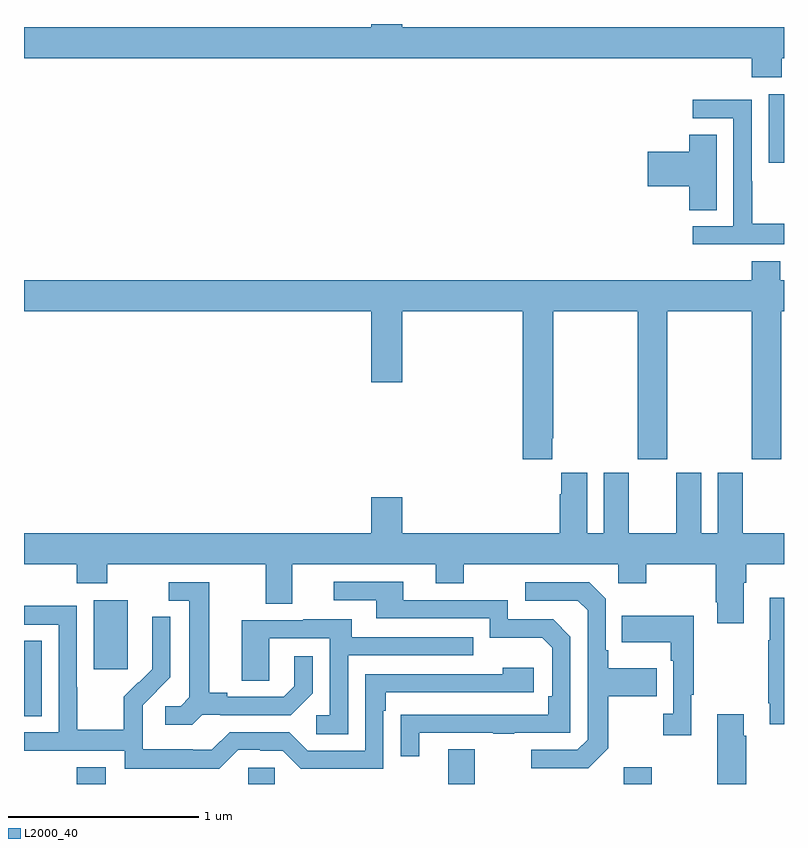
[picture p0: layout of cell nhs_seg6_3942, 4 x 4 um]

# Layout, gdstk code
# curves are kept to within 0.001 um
import gdstk
lib = gdstk.Library(unit=1e-6, precision=1e-09)
def R(c, l, rs):  # rectangles x0, y0, x1, y1
    for r in rs: c.add(gdstk.rectangle(r[:2], r[2:], *l))
def P(c, l, *ps):  # polygons
    for p in ps: c.add(gdstk.Polygon(p, *l))
L2000_40 = (2000, 40)

nhs_seg6_3942 = lib.new_cell('nhs_seg6_3942')
R(nhs_seg6_3942, L2000_40, [(343.277,959.5,343.429,959.587), (344.181,959.5,344.319,959.586), (345.233,959.5,345.373,959.683), (346.157,959.5,346.305,959.587), (343,959.857,343.093,960.254), (343.367,960.105,343.546,960.466), (346.919,962.769,347,963.13)])
P(nhs_seg6_3942, L2000_40, [(346.989,963.32),(347,963.32),(347,963.484),(344.992,963.484),(344.992,963.5),(344.828,963.5),(344.828,963.484),(343,963.484),(343,963.32),(346.829,963.32),(346.829,963.221),(346.989,963.221)],
  [(347,962.449),(346.833,962.449),(346.833,962.672),(346.83,962.672),(346.83,963.102),(346.521,963.102),(346.521,963.003),(346.734,963.003),(346.734,962.436),(346.521,962.436),(346.521,962.34),(347,962.34)],
  [(346.645,962.918),(346.502,962.918),(346.502,962.828),(346.284,962.828),(346.284,962.645),(346.502,962.645),(346.502,962.521),(346.645,962.521)],
  [(345.781,961.321),(345.786,961.321),(345.786,961.988),(346.231,961.988),(346.231,961.209),(346.386,961.209),(346.386,961.988),(346.831,961.988),(346.831,961.209),(346.986,961.209),(346.986,961.988),(347,961.988),(347,962.152),(346.981,962.152),(346.981,962.251),(346.829,962.251),(346.829,962.152),(343,962.152),(343,961.988),(344.828,961.988),(344.828,961.614),(344.992,961.614),(344.992,961.988),(345.626,961.988),(345.626,961.209),(345.781,961.209)],
  [(346.128,960.557),(346.275,960.557),(346.275,960.656),(346.642,960.656),(346.642,960.457),(346.649,960.457),(346.649,960.345),(346.789,960.345),(346.789,960.56),(346.802,960.56),(346.802,960.656),(347,960.656),(347,960.82),(346.783,960.82),(346.783,961.138),(346.652,961.138),(346.652,960.82),(346.564,960.82),(346.564,961.138),(346.433,961.138),(346.433,960.82),(346.183,960.82),(346.183,961.138),(346.052,961.138),(346.052,960.82),(345.964,960.82),(345.964,961.138),(345.827,961.138),(345.827,961.025),(345.821,961.025),(345.821,960.82),(344.992,960.82),(344.992,961.009),(344.828,961.009),(344.828,960.82),(343,960.82),(343,960.656),(343.277,960.656),(343.277,960.557),(343.437,960.557),(343.437,960.656),(344.273,960.656),(344.273,960.448),(344.413,960.448),(344.413,960.656),(345.167,960.656),(345.167,960.557),(345.315,960.557),(345.315,960.656),(346.128,960.656)],
  [(345.079,959.769),(345.469,959.769),(345.469,959.764),(345.581,959.764),(345.581,959.769),(345.876,959.769),(345.876,960.276),(345.786,960.366),(345.546,960.366),(345.546,960.468),(344.995,960.468),(344.995,960.564),(344.631,960.564),(344.631,960.468),(344.855,960.468),(344.855,960.372),(345.45,960.372),(345.45,960.269),(345.727,960.269),(345.78,960.216),(345.78,959.962),(345.76,959.962),(345.76,959.865),(344.983,959.864),(344.983,959.646),(345.079,959.646)],
  [(346.075,959.689),(346.075,959.962),(346.331,959.962),(346.331,960.109),(346.075,960.109),(346.075,960.205),(346.062,960.205),(346.062,960.474),(345.975,960.561),(345.639,960.561),(345.639,960.465),(345.915,960.465),(345.966,960.414),(345.966,959.733),(345.912,959.679),(345.669,959.679),(345.669,959.583),(345.969,959.583)],
  [(343.938,959.865),(344.032,959.865),(344.032,959.862),(344.404,959.862),(344.52,959.978),(344.52,960.172),(344.423,960.172),(344.423,960.015),(344.366,959.958),(344.071,959.958),(344.071,959.981),(343.975,959.981),(343.975,960.561),(343.761,960.561),(343.761,960.465),(343.871,960.465),(343.871,959.957),(343.824,959.91),(343.743,959.91),(343.743,959.813),(343.886,959.813)],
  [(347,960.481),(346.925,960.481),(346.925,960.257),(346.918,960.257),(346.918,959.926),(346.925,959.926),(346.925,959.814),(347,959.814)],
  [(344.127,959.679),(344.243,959.679),(344.243,959.676),(344.361,959.676),(344.457,959.58),(344.892,959.58),(344.892,959.885),(344.905,959.885),(344.905,959.982),(345.682,959.982),(345.682,960.112),(345.521,960.112),(345.521,960.078),(344.796,960.078),(344.796,959.676),(344.493,959.676),(344.397,959.772),(344.082,959.772),(343.989,959.679),(343.889,959.679),(343.889,959.683),(343.626,959.683),(343.626,959.817),(343.624,959.817),(343.624,959.914),(343.77,960.062),(343.77,960.38),(343.674,960.38),(343.674,960.226),(343.676,960.226),(343.676,960.104),(343.605,960.033),(343.602,960.036),(343.525,959.959),(343.525,959.785),(343.281,959.785),(343.281,960.008),(343.278,960.008),(343.278,960.438),(343,960.438),(343,960.339),(343.182,960.339),(343.182,959.772),(343,959.772),(343,959.676),(343.53,959.676),(343.53,959.579),(344.027,959.579)],
  [(346.513,959.969),(346.525,959.969),(346.525,960.385),(346.147,960.385),(346.147,960.245),(346.404,960.245),(346.404,960.149),(346.416,960.149),(346.416,959.87),(346.365,959.87),(346.365,959.757),(346.513,959.757)],
  [(344.706,960.177),(345.365,960.177),(345.365,960.273),(344.725,960.273),(344.725,960.367),(344.471,960.367),(344.471,960.363),(344.147,960.363),(344.147,960.043),(344.292,960.043),(344.292,960.267),(344.61,960.267),(344.61,959.862),(344.538,959.862),(344.538,959.761),(344.706,959.761)],
  [(346.802,959.753),(346.789,959.753),(346.789,959.866),(346.649,959.866),(346.649,959.5),(346.802,959.5)])

lib.write_gds('nhs_seg6_3942.gds')
